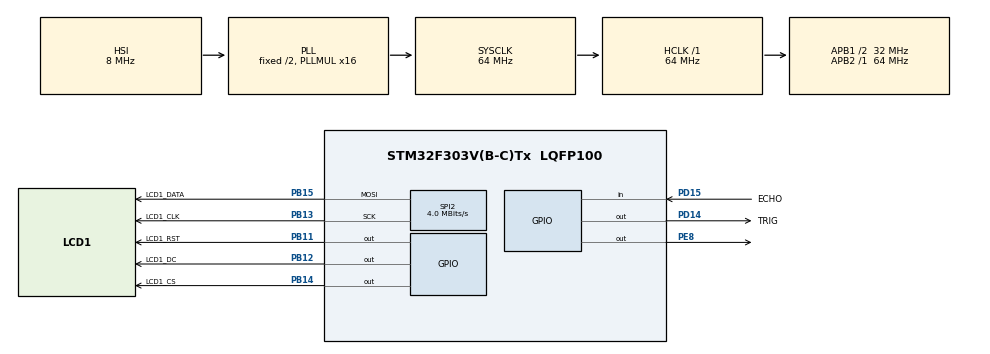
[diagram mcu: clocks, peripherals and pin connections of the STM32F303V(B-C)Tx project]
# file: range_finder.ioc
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Mcu.Family=STM32F3
Mcu.Name=STM32F303V(B-C)Tx
Mcu.Package=LQFP100
NVIC.PriorityGroup=NVIC_PRIORITYGROUP_4
NVIC.TIM6_DAC_IRQn=true\:0\:0\:false\:false\:true\:true
PA13.Mode=Serial_Wire
PA13.Signal=SYS_JTMS-SWDIO
PA14.Mode=Serial_Wire
PA14.Signal=SYS_JTCK-SWCLK
PB11.GPIO_Label=LCD1_RST
PB11.Signal=GPIO_Output
PB12.GPIO_Label=LCD1_DC
PB12.Signal=GPIO_Output
PB13.GPIO_Label=LCD1_CLK
PB13.Mode=TX_Only_Simplex_Unidirect_Master
PB13.Signal=SPI2_SCK
PB14.GPIO_Label=LCD1_CS
PB14.Signal=GPIO_Output
PB15.GPIO_Label=LCD1_DATA
PB15.Mode=TX_Only_Simplex_Unidirect_Master
PB15.Signal=SPI2_MOSI
PC14-OSC32_IN.Mode=LSE-External-Oscillator
PC14-OSC32_IN.Signal=RCC_OSC32_IN
PC15-OSC32_OUT.Mode=LSE-External-Oscillator
PC15-OSC32_OUT.Signal=RCC_OSC32_OUT
PD14.GPIO_Label=TRIG
PD14.Signal=GPIO_Output
PD15.GPIO_Label=ECHO
PD15.Signal=GPIO_Input
PE8.Signal=GPIO_Output
PF0-OSC_IN.Mode=HSE-External-Oscillator
PF0-OSC_IN.Signal=RCC_OSC_IN
PF1-OSC_OUT.Mode=HSE-External-Oscillator
PF1-OSC_OUT.Signal=RCC_OSC_OUT
ProjectManager.HeapSize=0x200
ProjectManager.StackSize=0x400
ProjectManager.TargetToolchain=SW4STM32
RCC.AHBFreq_Value=64000000
RCC.APB1CLKDivider=RCC_HCLK_DIV2
RCC.APB1Freq_Value=32000000
RCC.APB1TimFreq_Value=64000000
RCC.APB2Freq_Value=64000000
RCC.APB2TimFreq_Value=64000000
RCC.CortexFreq_Value=64000000
RCC.HCLKFreq_Value=64000000
RCC.HSE_VALUE=8000000
RCC.HSI_VALUE=8000000
RCC.PLLMUL=RCC_PLL_MUL16
RCC.SYSCLKFreq_VALUE=64000000
RCC.SYSCLKSourceVirtual=RCC_SYSCLKSOURCE_PLLCLK
RCC.USBFreq_Value=64000000
SPI2.BaudRatePrescaler=SPI_BAUDRATEPRESCALER_8
SPI2.CalculateBaudRate=4.0 MBits/s
SPI2.DataSize=SPI_DATASIZE_8BIT
SPI2.Direction=SPI_DIRECTION_2LINES
SPI2.Mode=SPI_MODE_MASTER
SPI2.VirtualType=VM_MASTER
TIM6.Period=10000
TIM6.Prescaler=63
VP_TIM6_VS_ClockSourceINT.Mode=Enable_Timer
board=custom

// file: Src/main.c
/**
  ******************************************************************************
  * @file           : main.c
  * @brief          : Main program body
  ******************************************************************************
  ** This notice applies to any and all portions of this file
  * that are not between comment pairs USER CODE BEGIN and
  * USER CODE END. Other portions of this file, whether
  * inserted by the user or by software development tools
  * are owned by their respective copyright owners.
  *
  * COPYRIGHT(c) 2018 STMicroelectronics
  *
  * Redistribution and use in source and binary forms, with or without modification,
  * are permitted provided that the following conditions are met:
  *   1. Redistributions of source code must retain the above copyright notice,
  *      this list of conditions and the following disclaimer.
  *   2. Redistributions in binary form must reproduce the above copyright notice,
  *      this list of conditions and the following disclaimer in the documentation
  *      and/or other materials provided with the distribution.
  *   3. Neither the name of STMicroelectronics nor the names of its contributors
  *      may be used to endorse or promote products derived from this software
  *      without specific prior written permission.
  *
  * THIS SOFTWARE IS PROVIDED BY THE COPYRIGHT HOLDERS AND CONTRIBUTORS "AS IS"
  * AND ANY EXPRESS OR IMPLIED WARRANTIES, INCLUDING, BUT NOT LIMITED TO, THE
  * IMPLIED WARRANTIES OF MERCHANTABILITY AND FITNESS FOR A PARTICULAR PURPOSE ARE
  * DISCLAIMED. IN NO EVENT SHALL THE COPYRIGHT HOLDER OR CONTRIBUTORS BE LIABLE
  * FOR ANY DIRECT, INDIRECT, INCIDENTAL, SPECIAL, EXEMPLARY, OR CONSEQUENTIAL
  * DAMAGES (INCLUDING, BUT NOT LIMITED TO, PROCUREMENT OF SUBSTITUTE GOODS OR
  * SERVICES; LOSS OF USE, DATA, OR PROFITS; OR BUSINESS INTERRUPTION) HOWEVER
  * CAUSED AND ON ANY THEORY OF LIABILITY, WHETHER IN CONTRACT, STRICT LIABILITY,
  * OR TORT (INCLUDING NEGLIGENCE OR OTHERWISE) ARISING IN ANY WAY OUT OF THE USE
  * OF THIS SOFTWARE, EVEN IF ADVISED OF THE POSSIBILITY OF SUCH DAMAGE.
  *
  ******************************************************************************
  */
#include "main.h"
#include "stm32f3xx_hal.h"
#include "spi.h"
#include "tim.h"
#include "gpio.h"
/* USER CODE BEGIN Includes */
#include "lcd5110.h"

/* USER CODE END Includes */

/* USER CODE BEGIN PV */
/* Private variables ---------------------------------------------------------*/
#define LOOP_FREQ (SystemCoreClock/4000000)
#define USE_TIM6_TIMING 1

/* USER CODE END PV */

void SystemClock_Config(void);

/* USER CODE BEGIN PFP */
/* Private function prototypes -----------------------------------------------*/
volatile uint32_t tim6_overflows = 0;

void HAL_TIM_PeriodElapsedCallback(TIM_HandleTypeDef *htim)
{
  if( htim->Instance == TIM6 )
  {
   ++tim6_overflows;
  }
}

inline void TIM6_reinit()
{
 HAL_TIM_Base_Stop(&htim6);
 __HAL_TIM_SET_PRESCALER( &htim6, (SystemCoreClock/1000000) );
 __HAL_TIM_SET_COUNTER( &htim6, 0 );
 tim6_overflows = 0;
 HAL_TIM_Base_Start_IT(&htim6);
}

inline uint32_t get_tim6_us()
{
 __HAL_TIM_DISABLE_IT(&htim6, TIM_IT_UPDATE); //! Дуже важливо!
 //__disable_irq();
 uint32_t res = tim6_overflows * 10000 + __HAL_TIM_GET_COUNTER(&htim6);
 //__enable_irq();
 __HAL_TIM_ENABLE_IT(&htim6, TIM_IT_UPDATE);
 return res;
}

inline void udelay_TIM6(uint32_t useconds) {
 uint32_t before = get_tim6_us();
 while( get_tim6_us() < before+useconds){}
}

void init_timing()
{
#ifdef  USE_HAL_DELAY_AND_ASM
 return;
#elif defined USE_DWT_TIMING
 DWT_Init();
#elif defined USE_TIM6_TIMING
 TIM6_reinit();
#else
#error "Unknown timing method."
#endif
}

inline uint32_t get_us()
{
#ifdef  USE_HAL_DELAY_AND_ASM
 return 1000*HAL_GetTick();
#elif defined USE_DWT_TIMING
 return get_DWT_us();
#elif defined USE_TIM6_TIMING
 return get_tim6_us();
#else
#error "Unknown timing method."
#endif
}

inline void udelay(uint32_t useconds)
{
#ifdef  USE_HAL_DELAY_AND_ASM
 udelay_asm(useconds);
#elif defined USE_DWT_TIMING
 udelay_DWT(useconds);
#elif defined USE_TIM6_TIMING
 udelay_TIM6(useconds);
#else
#error "Unknown timing method."
#endif
}

/* USER CODE END PFP */

/* USER CODE BEGIN 0 */
LCD5110_display lcd1;

/* USER CODE END 0 */

int main(void)
{
  /* USER CODE BEGIN 1 */
//	extern void initialise_monitor_handles(void);
//	initialise_monitor_handles();

  /* USER CODE END 1 */

  /* MCU Configuration----------------------------------------------------------*/

  /* Reset of all peripherals, Initializes the Flash interface and the Systick. */
  HAL_Init();

  /* Configure the system clock */
  SystemClock_Config();

  /* Initialize all configured peripherals */
  MX_GPIO_Init();
  MX_TIM6_Init();
  MX_SPI2_Init();
  /* USER CODE BEGIN 2 */
  init_timing();

  lcd1.hw_conf.spi_handle = &hspi2;
  lcd1.hw_conf.spi_cs_pin =  LCD1_CS_Pin;
  lcd1.hw_conf.spi_cs_port = LCD1_CS_GPIO_Port;
  lcd1.hw_conf.rst_pin =  LCD1_RST_Pin;
  lcd1.hw_conf.rst_port = LCD1_RST_GPIO_Port;
  lcd1.hw_conf.dc_pin =  LCD1_DC_Pin;
  lcd1.hw_conf.dc_port = LCD1_DC_GPIO_Port;
  lcd1.def_scr = lcd5110_def_scr;
  LCD5110_init(&lcd1.hw_conf, LCD5110_NORMAL_MODE, 0x40, 2, 3);
  LCD5110_print("Hello world :)\n", BLACK, &lcd1);
  HAL_Delay(3000);
  LCD5110_clear_scr(&lcd1);
  LCD5110_set_cursor(0, 0, &lcd1);

  /* USER CODE END 2 */

  /* Infinite loop */
  /* USER CODE BEGIN WHILE */
  HAL_GPIO_WritePin(TRIG_GPIO_Port, TRIG_Pin, GPIO_PIN_RESET);

  while (1)
  {
	     int t_state = HAL_GPIO_ReadPin(TRIG_GPIO_Port, TRIG_Pin);
	     while(  t_state == GPIO_PIN_SET )
	     {
//	      printf("Wrong state before triggering, Trig is high\n");
	      LCD5110_print("Wrong state before triggering, Trig is high\n", BLACK, &lcd1);
	      HAL_Delay(1000);
	      LCD5110_clear_scr(&lcd1);
	      LCD5110_set_cursor(0, 0, &lcd1);
	     }
	     HAL_GPIO_WritePin(TRIG_GPIO_Port, TRIG_Pin, GPIO_PIN_SET);
	     if ( HAL_GPIO_ReadPin(TRIG_GPIO_Port, TRIG_Pin) != GPIO_PIN_SET )
	     {
//	      printf("Line Trig do not went high while triggering.\n");

	      LCD5110_print("Line Trig do not went high while triggering.\n", BLACK, &lcd1);
	      HAL_GPIO_WritePin(TRIG_GPIO_Port, TRIG_Pin, GPIO_PIN_RESET);
	      HAL_Delay(1000);
	      LCD5110_clear_scr(&lcd1);
	      LCD5110_set_cursor(0, 0, &lcd1);
	      continue;
	     }
	     udelay(16);
	     HAL_GPIO_WritePin(TRIG_GPIO_Port, TRIG_Pin, GPIO_PIN_RESET);
	     if ( HAL_GPIO_ReadPin(TRIG_GPIO_Port, TRIG_Pin) != GPIO_PIN_RESET )
	     {
//	      printf("Line Trig do not went low after triggering.\n");

	      LCD5110_print("Line Trig do not went low after triggering.\n", BLACK, &lcd1);
	      HAL_GPIO_WritePin(TRIG_GPIO_Port, TRIG_Pin, GPIO_PIN_RESET);
	      HAL_Delay(1000);
	      LCD5110_clear_scr(&lcd1);
	      LCD5110_set_cursor(0, 0, &lcd1);
	      continue;
	     }
	     if ( HAL_GPIO_ReadPin(ECHO_GPIO_Port, ECHO_Pin) == GPIO_PIN_SET )
	     {
//	      printf("Line ECHO is high too early.\n");

	      LCD5110_print("Line ECHO is high too early.\n", BLACK, &lcd1);
	      HAL_Delay(1000);
	      LCD5110_clear_scr(&lcd1);
	      LCD5110_set_cursor(0, 0, &lcd1);
	      continue;
	     }

	     uint32_t watchdog_begin = get_us();
	     int didnt_had_1_at_echo = 0;
	     while(HAL_GPIO_ReadPin(ECHO_GPIO_Port, ECHO_Pin) == GPIO_PIN_RESET )
	     {
	      if( get_us() - watchdog_begin > 500000 )
	      {
	       didnt_had_1_at_echo = 1;
	       break;
	      }
	     }
	     if(didnt_had_1_at_echo)
	     {
//	      printf("Line ECHO didn't go high for a long time.\n");
	      LCD5110_print("Line ECHO didn't go high for a long time.\n", BLACK, &lcd1);
	      HAL_Delay(1000);
	      LCD5110_clear_scr(&lcd1);
	      LCD5110_set_cursor(0, 0, &lcd1);
	      continue;
	     }

	     uint32_t before = get_us();
	     int didnt_had_0_at_echo = 0;
	     while(HAL_GPIO_ReadPin(ECHO_GPIO_Port, ECHO_Pin) == GPIO_PIN_SET )
	     {
	      if( get_us() - watchdog_begin > 500000 )
	      {
	       didnt_had_0_at_echo = 1;
	       break;
	      }
	     }
	     if(didnt_had_0_at_echo)
	     {
//	      printf("Line ECHO didn't go low after echoing pulse stared for a long time.\n");
	      LCD5110_print("Line ECHO didn't go low after echoing pulse stared for a long time.\n", BLACK, &lcd1);
	      HAL_Delay(1000);
	      LCD5110_clear_scr(&lcd1);
	      LCD5110_set_cursor(0, 0, &lcd1);
	      continue;
	     }

	     uint32_t pulse_time = get_us()-before;
	     uint32_t distance = pulse_time/58;

//	     printf("Time: %lu us, distance: %lu cm\n",
//	       pulse_time,
//	       distance);
	     LCD5110_printf(&lcd1, BLACK, "Time: %lu us"
	    		 	 	 	 	 	  "\n "
	    		 	 	 	 	 	  "distance: %lu cm\n",
	    	pulse_time,
	  	    distance);
	      HAL_Delay(1000);
	      LCD5110_clear_scr(&lcd1);
	      LCD5110_set_cursor(0, 0, &lcd1);

	     if( distance > 500 )
	     {
//	      printf("\tToo far -- possibly no echo at all.");
	      LCD5110_print("\tToo far -- possibly no echo at all\n", BLACK, &lcd1);
	      HAL_Delay(1000);
	      LCD5110_clear_scr(&lcd1);
	      LCD5110_set_cursor(0, 0, &lcd1);

	     }

  /* USER CODE END WHILE */

	    }
  }

void SystemClock_Config(void)
{

  RCC_OscInitTypeDef RCC_OscInitStruct;
  RCC_ClkInitTypeDef RCC_ClkInitStruct;

    /**Initializes the CPU, AHB and APB busses clocks
    */
  RCC_OscInitStruct.OscillatorType = RCC_OSCILLATORTYPE_HSI;
  RCC_OscInitStruct.HSIState = RCC_HSI_ON;
  RCC_OscInitStruct.HSICalibrationValue = 16;
  RCC_OscInitStruct.PLL.PLLState = RCC_PLL_ON;
  RCC_OscInitStruct.PLL.PLLSource = RCC_PLLSOURCE_HSI;
  RCC_OscInitStruct.PLL.PLLMUL = RCC_PLL_MUL16;
  if (HAL_RCC_OscConfig(&RCC_OscInitStruct) != HAL_OK)
  {
    _Error_Handler(__FILE__, __LINE__);
  }

    /**Initializes the CPU, AHB and APB busses clocks
    */
  RCC_ClkInitStruct.ClockType = RCC_CLOCKTYPE_HCLK|RCC_CLOCKTYPE_SYSCLK
                              |RCC_CLOCKTYPE_PCLK1|RCC_CLOCKTYPE_PCLK2;
  RCC_ClkInitStruct.SYSCLKSource = RCC_SYSCLKSOURCE_PLLCLK;
  RCC_ClkInitStruct.AHBCLKDivider = RCC_SYSCLK_DIV1;
  RCC_ClkInitStruct.APB1CLKDivider = RCC_HCLK_DIV2;
  RCC_ClkInitStruct.APB2CLKDivider = RCC_HCLK_DIV1;

  if (HAL_RCC_ClockConfig(&RCC_ClkInitStruct, FLASH_LATENCY_2) != HAL_OK)
  {
    _Error_Handler(__FILE__, __LINE__);
  }

    /**Configure the Systick interrupt time
    */
  HAL_SYSTICK_Config(HAL_RCC_GetHCLKFreq()/1000);

    /**Configure the Systick
    */
  HAL_SYSTICK_CLKSourceConfig(SYSTICK_CLKSOURCE_HCLK);

  /* SysTick_IRQn interrupt configuration */
  HAL_NVIC_SetPriority(SysTick_IRQn, 0, 0);
}

void _Error_Handler(char *file, int line)
{
  while(1)
  {
  }
}

/************************ (C) COPYRIGHT STMicroelectronics *****END OF FILE****/
